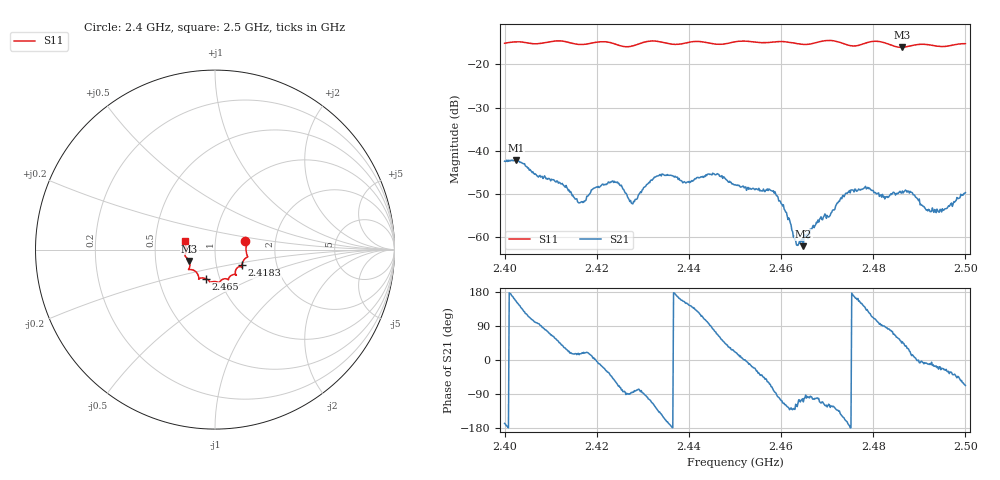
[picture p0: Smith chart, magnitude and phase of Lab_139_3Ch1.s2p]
# Hz S RI R 50
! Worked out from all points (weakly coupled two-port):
!   601 points, 2.4 GHz to 2.5 GHz, reference 50 ohm
!   highest |S21| = -42.09 dB at 2.4025 GHz (marker M1); lowest = -62.0 dB at 2.4648 GHz (marker M2)
!   lowest |S11| = -16.1 dB at 2.4862 GHz (marker M3), VSWR 1.37, Z = 37.2 - j4.83 ohm
!   |S11| at or under -10 dB: start of sweep to end of sweep
!   S12 and S22 are empty: the file has one direction only
!   S11 on the Smith chart (normalised r, x): 2.4 GHz: 1.40, +0.14; 2.4183 GHz: 1.33, -0.24; 2.465 GHz: 0.86, -0.28; 2.5 GHz: 0.71, +0.07
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2.4e9  0.1687 0.0468  -0.00741 -0.00168  0 0  0 0
2.4025e9  0.1787 0.0355  -0.00715 0.00327  0 0  0 0
2.412333e9  0.1815 -0.0416  0.0032 0.00265  0 0  0 0
2.416667e9  0.1549 -0.0685  0.00248 0.00075  0 0  0 0
2.418333e9  0.1501 -0.0873  0.00301 0.000888  0 0  0 0
2.424e9  0.1426 -0.0948  0.00241 -0.00361  0 0  0 0
2.427667e9  0.115 -0.1148  0.000161 -0.00245  0 0  0 0
2.433333e9  0.1175 -0.1411  -0.0036 -0.0037  0 0  0 0
2.439167e9  0.0778 -0.1575  -0.00381 0.00208  0 0  0 0
2.445667e9  0.0565 -0.1621  0.00138 0.00512  0 0  0 0
2.45e9  0.0262 -0.1802  0.0038 0.00148  0 0  0 0
2.458333e9  -0.0193 -0.1798  0.000629 -0.00341  0 0  0 0
2.460833e9  -0.0289 -0.1801  -0.000969 -0.00182  0 0  0 0
2.463167e9  -0.0365 -0.1706  -0.000413 -0.000822  0 0  0 0
2.464833e9  -0.0505 -0.1622  -0.000279 -0.000742  0 0  0 0
2.465e9  -0.0524 -0.1615  -0.000207 -0.00107  0 0  0 0
2.466667e9  -0.0712 -0.1577  -0.000172 -0.00123  0 0  0 0
2.475e9  -0.1009 -0.1299  -0.00327 -7.22e-05  0 0  0 0
2.483333e9  -0.1412 -0.0967  0.000407 0.0029  0 0  0 0
2.486167e9  -0.1438 -0.0634  0.00231 0.0023  0 0  0 0
2.493667e9  -0.1623 -0.0133  0.00186 -0.000519  0 0  0 0
2.5e9  -0.1666 0.0468  0.00128 -0.00304  0 0  0 0
